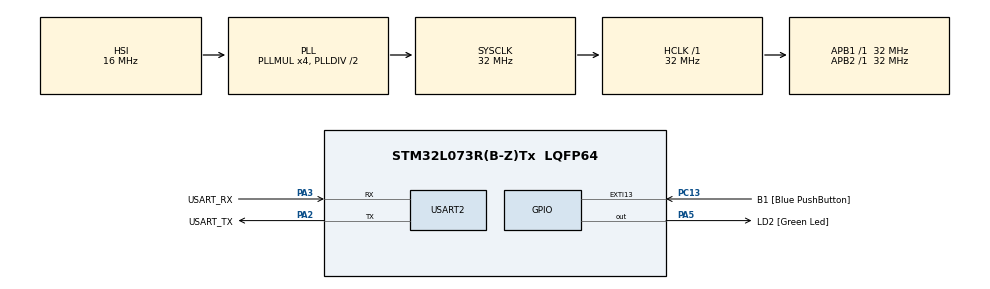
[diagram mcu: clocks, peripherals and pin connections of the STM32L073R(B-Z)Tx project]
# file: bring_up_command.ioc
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Dma.Request0=USART2_RX
Dma.USART2_RX.0.Direction=DMA_PERIPH_TO_MEMORY
Dma.USART2_RX.0.Instance=DMA1_Channel5
Dma.USART2_RX.0.MemDataAlignment=DMA_MDATAALIGN_BYTE
Dma.USART2_RX.0.MemInc=DMA_MINC_ENABLE
Dma.USART2_RX.0.Mode=DMA_CIRCULAR
Dma.USART2_RX.0.PeriphDataAlignment=DMA_PDATAALIGN_BYTE
Dma.USART2_RX.0.PeriphInc=DMA_PINC_DISABLE
Dma.USART2_RX.0.Priority=DMA_PRIORITY_LOW
Mcu.Family=STM32L0
Mcu.Name=STM32L073R(B-Z)Tx
Mcu.Package=LQFP64
NVIC.DMA1_Channel4_5_6_7_IRQn=true\:0\:0\:false\:false\:true\:false\:true\:true
NVIC.USART2_IRQn=true\:0\:0\:false\:false\:true\:true\:true\:true
PA13.GPIO_Label=TMS
PA13.Mode=Serial_Wire
PA13.Signal=SYS_SWDIO
PA14.GPIO_Label=TCK
PA14.Mode=Serial_Wire
PA14.Signal=SYS_SWCLK
PA2.GPIO_Label=USART_TX
PA2.Mode=Asynchronous
PA2.Signal=USART2_TX
PA3.GPIO_Label=USART_RX
PA3.Mode=Asynchronous
PA3.Signal=USART2_RX
PA5.GPIO_Label=LD2 [Green Led]
PA5.Signal=GPIO_Output
PC13.GPIO_Label=B1 [Blue PushButton]
PC13.GPIO_ModeDefaultEXTI=GPIO_MODE_IT_FALLING
PC13.Signal=GPXTI13
PC14-OSC32_IN.Mode=LSE-External-Oscillator
PC14-OSC32_IN.Signal=RCC_OSC32_IN
PC15-OSC32_OUT.Mode=LSE-External-Oscillator
PC15-OSC32_OUT.Signal=RCC_OSC32_OUT
PH0-OSC_IN.GPIO_Label=MCO
PH0-OSC_IN.Mode=HSE-External-Clock-Source
PH0-OSC_IN.Signal=RCC_OSC_IN
ProjectManager.HeapSize=0x200
ProjectManager.StackSize=0x400
ProjectManager.TargetToolchain=STM32CubeIDE
RCC.AHBFreq_Value=32000000
RCC.APB1Freq_Value=32000000
RCC.APB1TimFreq_Value=32000000
RCC.APB2Freq_Value=32000000
RCC.APB2TimFreq_Value=32000000
RCC.HCLKFreq_Value=32000000
RCC.HSE_VALUE=8000000
RCC.HSI16_VALUE=16000000
RCC.HSI48_VALUE=48000000
RCC.HSI_VALUE=16000000
RCC.MSI_VALUE=2097000
RCC.PLLMUL=RCC_PLLMUL_4
RCC.SYSCLKFreq_VALUE=32000000
RCC.SYSCLKSource=RCC_SYSCLKSOURCE_PLLCLK
RCC.VCOOutputFreq_Value=64000000
USART2.VirtualMode-Asynchronous=VM_ASYNC
board=NUCLEO-L073RZ

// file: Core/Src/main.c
/* USER CODE BEGIN Header */
/**
  ******************************************************************************
  * @file           : main.c
  * @brief          : Main program body
  ******************************************************************************
  * @attention
  *
  * Copyright (c) 2025 STMicroelectronics.
  * All rights reserved.
  *
  * This software is licensed under terms that can be found in the LICENSE file
  * in the root directory of this software component.
  * If no LICENSE file comes with this software, it is provided AS-IS.
  *
  ******************************************************************************
  */
/* USER CODE END Header */
#include "main.h"

/* USER CODE BEGIN Includes */
#include "ring_buffer.h"
#include "command.h"
#include "string.h"
/* USER CODE END Includes */

UART_HandleTypeDef huart2;
DMA_HandleTypeDef hdma_usart2_rx;

void SystemClock_Config(void);
static void MX_GPIO_Init(void);
static void MX_DMA_Init(void);
static void MX_USART2_UART_Init(void);

/* USER CODE BEGIN 0 */
//TODO: add commands using parameters
#define RX_DMA_BUF_SIZE 128
uint8_t rx_dma_buf[RX_DMA_BUF_SIZE];

#define CMD_BUF_SIZE 64
uint8_t cmd_buf[CMD_BUF_SIZE];

RingBuffer ring_buf;

/**
  * @brief  UART receive event callback.
  * This function is called by HAL when data is received via DMA
  * @param  huart UART handle.
  * @param  Size  Number of data received.
  * @retval None
  */

void HAL_UARTEx_RxEventCallback(UART_HandleTypeDef *huart, uint16_t dma_pos)
{
    static uint16_t last_pos = 0;
    uint16_t i;

    if (huart->Instance == USART2) {
    	// Store the previous DMA read position across multiple calls.
        uint16_t start_pos = last_pos;

        // If the new DMA position (Size) is smaller than the previous one,
        // it means the circular DMA buffer has wrapped around.
        // Size is DMA position
        if (dma_pos < last_pos) {
        	// Copy data from the old (last) position up to the end of the DMA buffer.
            for (i = start_pos; i < RX_DMA_BUF_SIZE; i++) {
                RingBufferPush(&ring_buf, rx_dma_buf[i]);
            }
            // After wrap, continue copying from the beginning of the DMA buffer.
            start_pos = 0;
        }

        // Copy the newly received data between start_pos and the current DMA position.
        for (i = start_pos; i < dma_pos; i++) {
        	RingBufferPush(&ring_buf, rx_dma_buf[i]);

        }

        // Update previous position for the next callback.
        last_pos = dma_pos;
    }
}

static void print_tx(const char* str) {
    HAL_UART_Transmit(&huart2, (uint8_t*)str, strlen(str), HAL_MAX_DELAY);
}

/* USER CODE END 0 */

int main(void)
{

  /* MCU Configuration--------------------------------------------------------*/

  /* Reset of all peripherals, Initializes the Flash interface and the Systick. */
  HAL_Init();

  /* USER CODE BEGIN Init */
  uint16_t num_byte;
  uint32_t update_freq = 0;
  /* USER CODE END Init */

  /* Configure the system clock */
  SystemClock_Config();

  /* Initialize all configured peripherals */
  MX_GPIO_Init();
  MX_DMA_Init();
  MX_USART2_UART_Init();
  /* USER CODE BEGIN 2 */
  const char* msg = "Firmware initializing \r\n";
  /*Commum mode for  TX*/
  //HAL_UART_Transmit(&huart2, (uint8_t*)msg, strlen(msg), HAL_MAX_DELAY);
  print_tx(msg);

  ReturnCode ret = kError;

  ret = RingBufferInit(&ring_buf);

  if(ret != kOk) {
	  msg = "Failed in buffers initialization!\r\n";
      //HAL_UART_Transmit(&huart2, (uint8_t*)msg, strlen(msg), HAL_MAX_DELAY);
	  print_tx(msg);
  }

  print_tx("Test Console Initialized. \r\n Type 'help'.\r\n");

  HAL_UARTEx_ReceiveToIdle_DMA(&huart2, rx_dma_buf, RX_DMA_BUF_SIZE);

  /* USER CODE END 2 */

  /* Infinite loop */
  while (1)
  {
	    /* USER CODE BEGIN 3 */
	  update_freq++;
	  //TODO: move to a static function ReceiveCommand()
	  if(update_freq == 500000){
	    //HAL_GPIO_TogglePin(LD2_GPIO_Port, LD2_Pin);
	    if(RingBufferIsEmpty(&ring_buf) != kEmpty){

	      RingBufferCurrentSize(&ring_buf, &num_byte);

	      RingBufferStreamPop(&ring_buf, cmd_buf, num_byte);

	      //HAL_UART_Transmit(&huart2, cmd_buf, num_byte, HAL_MAX_DELAY);
	      print_tx((char*)cmd_buf);
	      print_tx("\r\n");

	      CommandParserProcess(cmd_buf); // Processa o comando

	      memset(cmd_buf, '\0', sizeof(cmd_buf));
	    }
	    update_freq = 0;
	  }

  }
  /* USER CODE END 3 */
}

void SystemClock_Config(void)
{
  RCC_OscInitTypeDef RCC_OscInitStruct = {0};
  RCC_ClkInitTypeDef RCC_ClkInitStruct = {0};
  RCC_PeriphCLKInitTypeDef PeriphClkInit = {0};

  /** Configure the main internal regulator output voltage
  */
  __HAL_PWR_VOLTAGESCALING_CONFIG(PWR_REGULATOR_VOLTAGE_SCALE1);

  /** Initializes the RCC Oscillators according to the specified parameters
  * in the RCC_OscInitTypeDef structure.
  */
  RCC_OscInitStruct.OscillatorType = RCC_OSCILLATORTYPE_HSI;
  RCC_OscInitStruct.HSIState = RCC_HSI_ON;
  RCC_OscInitStruct.HSICalibrationValue = RCC_HSICALIBRATION_DEFAULT;
  RCC_OscInitStruct.PLL.PLLState = RCC_PLL_ON;
  RCC_OscInitStruct.PLL.PLLSource = RCC_PLLSOURCE_HSI;
  RCC_OscInitStruct.PLL.PLLMUL = RCC_PLLMUL_4;
  RCC_OscInitStruct.PLL.PLLDIV = RCC_PLLDIV_2;
  if (HAL_RCC_OscConfig(&RCC_OscInitStruct) != HAL_OK)
  {
    Error_Handler();
  }

  /** Initializes the CPU, AHB and APB buses clocks
  */
  RCC_ClkInitStruct.ClockType = RCC_CLOCKTYPE_HCLK|RCC_CLOCKTYPE_SYSCLK
                              |RCC_CLOCKTYPE_PCLK1|RCC_CLOCKTYPE_PCLK2;
  RCC_ClkInitStruct.SYSCLKSource = RCC_SYSCLKSOURCE_PLLCLK;
  RCC_ClkInitStruct.AHBCLKDivider = RCC_SYSCLK_DIV1;
  RCC_ClkInitStruct.APB1CLKDivider = RCC_HCLK_DIV1;
  RCC_ClkInitStruct.APB2CLKDivider = RCC_HCLK_DIV1;

  if (HAL_RCC_ClockConfig(&RCC_ClkInitStruct, FLASH_LATENCY_1) != HAL_OK)
  {
    Error_Handler();
  }
  PeriphClkInit.PeriphClockSelection = RCC_PERIPHCLK_USART2;
  PeriphClkInit.Usart2ClockSelection = RCC_USART2CLKSOURCE_PCLK1;
  if (HAL_RCCEx_PeriphCLKConfig(&PeriphClkInit) != HAL_OK)
  {
    Error_Handler();
  }
}

static void MX_USART2_UART_Init(void)
{

  huart2.Instance = USART2;
  huart2.Init.BaudRate = 115200;
  huart2.Init.WordLength = UART_WORDLENGTH_8B;
  huart2.Init.StopBits = UART_STOPBITS_1;
  huart2.Init.Parity = UART_PARITY_NONE;
  huart2.Init.Mode = UART_MODE_TX_RX;
  huart2.Init.HwFlowCtl = UART_HWCONTROL_NONE;
  huart2.Init.OverSampling = UART_OVERSAMPLING_16;
  huart2.Init.OneBitSampling = UART_ONE_BIT_SAMPLE_DISABLE;
  huart2.AdvancedInit.AdvFeatureInit = UART_ADVFEATURE_NO_INIT;
  if (HAL_UART_Init(&huart2) != HAL_OK)
  {
    Error_Handler();
  }

}

static void MX_DMA_Init(void)
{

  /* DMA controller clock enable */
  __HAL_RCC_DMA1_CLK_ENABLE();

  /* DMA interrupt init */
  /* DMA1_Channel4_5_6_7_IRQn interrupt configuration */
  HAL_NVIC_SetPriority(DMA1_Channel4_5_6_7_IRQn, 0, 0);
  HAL_NVIC_EnableIRQ(DMA1_Channel4_5_6_7_IRQn);

}

static void MX_GPIO_Init(void)
{
  GPIO_InitTypeDef GPIO_InitStruct = {0};

  /* GPIO Ports Clock Enable */
  __HAL_RCC_GPIOC_CLK_ENABLE();
  __HAL_RCC_GPIOH_CLK_ENABLE();
  __HAL_RCC_GPIOA_CLK_ENABLE();

  /*Configure GPIO pin Output Level */
  HAL_GPIO_WritePin(LD2_GPIO_Port, LD2_Pin, GPIO_PIN_RESET);

  /*Configure GPIO pin : B1_Pin */
  GPIO_InitStruct.Pin = B1_Pin;
  GPIO_InitStruct.Mode = GPIO_MODE_IT_FALLING;
  GPIO_InitStruct.Pull = GPIO_NOPULL;
  HAL_GPIO_Init(B1_GPIO_Port, &GPIO_InitStruct);

  /*Configure GPIO pin : LD2_Pin */
  GPIO_InitStruct.Pin = LD2_Pin;
  GPIO_InitStruct.Mode = GPIO_MODE_OUTPUT_PP;
  GPIO_InitStruct.Pull = GPIO_NOPULL;
  GPIO_InitStruct.Speed = GPIO_SPEED_FREQ_LOW;
  HAL_GPIO_Init(LD2_GPIO_Port, &GPIO_InitStruct);

}

void Error_Handler(void)
{
  __disable_irq();
  while (1)
  {
  }
}
